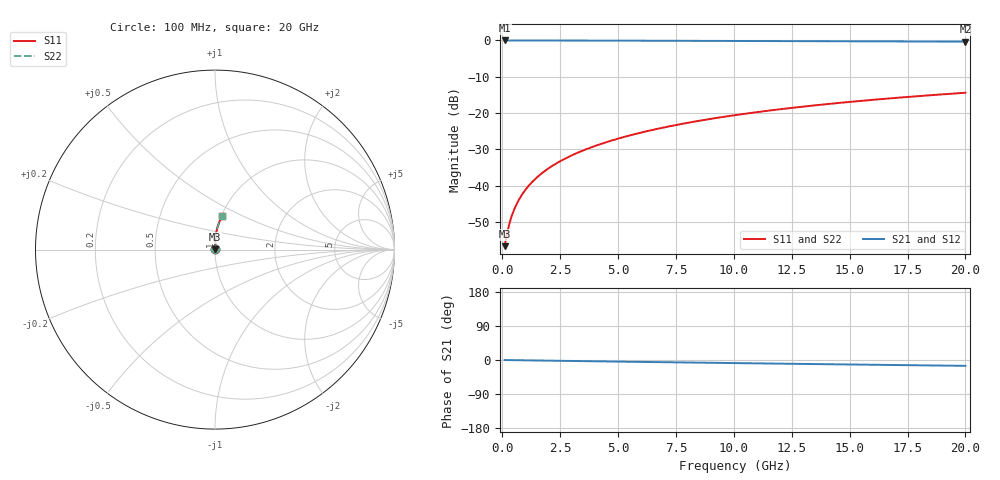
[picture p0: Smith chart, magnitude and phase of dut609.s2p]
! Touchstone file exported from HFSS 2024.1.0
!  File:  C:/UserFiles/LocalFiles/RDL_TSV_Batchsim/temp_RDL_top_609_1779779725.aedt
!  Generated:  03:17:57 PM May 26, 2026
!  Design:  RDL_top
!  Project:  temp_RDL_top_609_1779779725
!  Setup:  Setup1
!  Solution:  Sweep
! Variables:
!  dtsv = 10.80580581um
!  hbump = 3um
!  htsv = 67.63um
!  ldown = 100um
!  lrdl = 158.78um
!  p = 40
!  p1 = 57.86um
!  rhole = 1um
!  t = 450um
!  tdown = 3.915915916um
!  trdl = 2.95um
!  wdown = 15.38538539um
!  wrdl = 21.84um
# GHz S MA R 50.000000
! Terminal data exported
! Port[1] = Box2_T1
! Port[2] = Box2_T2
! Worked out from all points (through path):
!   200 points, 100 MHz to 20 GHz, reference 50 ohm
!   highest |S21| = -0.01 dB at 100 MHz (marker M1); lowest = -0.3 dB at 20 GHz (marker M2)
!   group delay of S21, straight-line fit = 2.12 ps
!   lowest |S11| = -56.7 dB at 100 MHz (marker M3), VSWR 1.00, Z = 50.1 + j0.0915 ohm
!   |S11| at or under -10 dB: start of sweep to end of sweep
!   |S22| runs from -56.7 to -14.4 dB; largest |S21 - S12| = 4.1e-15
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0.1  0.001464 38.6  0.9989 -0.1  0.9989 -0.1  0.001464 38.6
! Gamma 0 0 0 0
! Port Impedance 50 0 50 0
0.2  0.002158 56.9  0.9988 -0.2  0.9988 -0.2  0.002158 56.9
0.3  0.002947 65.7  0.9988 -0.3  0.9988 -0.3  0.002947 65.7
0.4  0.003759 70.6  0.9987 -0.4  0.9987 -0.4  0.003759 70.6
0.5  0.004579 73.9  0.9986 -0.4  0.9986 -0.4  0.004579 73.9
0.6  0.005406 76.2  0.9986 -0.5  0.9986 -0.5  0.005406 76.2
0.8  0.007071 79.4  0.9985 -0.7  0.9985 -0.7  0.007071 79.4
1.1  0.009596 82.2  0.9983 -1.0  0.9983 -1.0  0.009597 82.2
1.5  0.013 84.3  0.998 -1.3  0.998 -1.3  0.013 84.3
1.8  0.01558 85.3  0.9978 -1.6  0.9978 -1.6  0.01558 85.3
2.1  0.01817 86.1  0.9975 -1.8  0.9975 -1.8  0.01817 86.1
2.7  0.02343 87.1  0.9968 -2.3  0.9968 -2.3  0.02343 87.1
3.5  0.03056 87.9  0.9957 -3.0  0.9957 -3.0  0.03056 87.9
4.2  0.03694 88.3  0.9946 -3.6  0.9946 -3.6  0.03693 88.2
5  0.04436 88.4  0.9933 -4.3  0.9933 -4.3  0.04436 88.4
5.9  0.05287 88.3  0.9916 -5.0  0.9916 -5.0  0.05287 88.3
6.8  0.06152 88.0  0.9898 -5.7  0.9898 -5.7  0.06152 88.0
8.4  0.07714 87.2  0.9866 -6.9  0.9866 -6.9  0.07714 87.2
10.1  0.09392 86.1  0.9831 -8.2  0.9831 -8.2  0.09392 86.1
13.4  0.1265 83.5  0.9763 -10.7  0.9763 -10.7  0.1265 83.5
16.7  0.1587 80.8  0.9692 -13.1  0.9692 -13.1  0.1587 80.8
20  0.1901 78.1  0.9618 -15.4  0.9618 -15.4  0.1901 78.1
